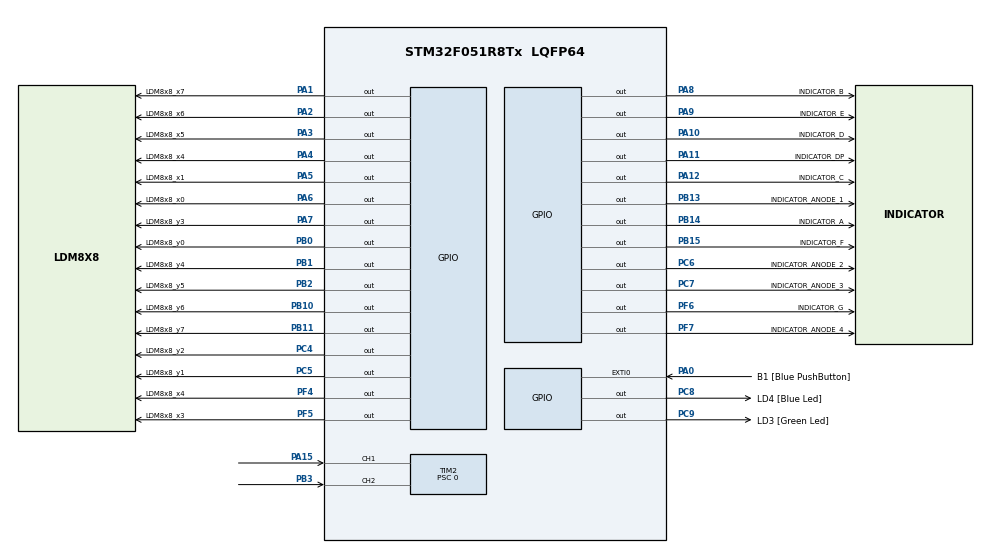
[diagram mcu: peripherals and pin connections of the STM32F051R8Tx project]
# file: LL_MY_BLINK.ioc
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Mcu.Family=STM32F0
Mcu.Name=STM32F051R8Tx
Mcu.Package=LQFP64
NVIC.EXTI0_1_IRQn=true\:0\:0\:false\:false\:true\:true\:true
PA0.GPIO_Label=B1 [Blue PushButton]
PA0.GPIO_ModeDefaultEXTI=GPIO_MODE_IT_RISING
PA0.Signal=GPXTI0
PA1.GPIO_Label=LDM8x8_x7
PA1.Signal=GPIO_Output
PA10.GPIO_Label=INDICATOR_D
PA10.Signal=GPIO_Output
PA11.GPIO_Label=INDICATOR_DP
PA11.Signal=GPIO_Output
PA12.GPIO_Label=INDICATOR_C
PA12.Signal=GPIO_Output
PA13.GPIO_Label=SWDIO
PA13.Mode=Serial_Wire
PA13.Signal=SYS_SWDIO
PA14.GPIO_Label=SWCLK
PA14.Mode=Serial_Wire
PA14.Signal=SYS_SWCLK
PA15.GPIO_ModeDefaultPP=GPIO_MODE_AF_PP
PA15.GPIO_PuPd=GPIO_PULLUP
PA15.GPIO_Speed=GPIO_SPEED_FREQ_LOW
PA15.Signal=S_TIM2_CH1_ETR
PA2.GPIO_Label=LDM8x8_x6
PA2.Signal=GPIO_Output
PA3.GPIO_Label=LDM8x8_x5
PA3.Signal=GPIO_Output
PA4.GPIO_Label=LDM8x8_x4
PA4.Signal=GPIO_Output
PA5.GPIO_Label=LDM8x8_x1
PA5.Signal=GPIO_Output
PA6.GPIO_Label=LDM8x8_x0
PA6.Signal=GPIO_Output
PA7.GPIO_Label=LDM8x8_y3
PA7.Signal=GPIO_Output
PA8.GPIO_Label=INDICATOR_B
PA8.Signal=GPIO_Output
PA9.GPIO_Label=INDICATOR_E
PA9.Signal=GPIO_Output
PB0.GPIO_Label=LDM8x8_y0
PB0.Signal=GPIO_Output
PB1.GPIO_Label=LDM8x8_y4
PB1.Signal=GPIO_Output
PB10.GPIO_Label=LDM8x8_y6
PB10.Signal=GPIO_Output
PB11.GPIO_Label=LDM8x8_y7
PB11.Signal=GPIO_Output
PB13.GPIO_Label=INDICATOR_ANODE_1
PB13.Signal=GPIO_Output
PB14.GPIO_Label=INDICATOR_A
PB14.Signal=GPIO_Output
PB15.GPIO_Label=INDICATOR_F
PB15.Signal=GPIO_Output
PB2.GPIO_Label=LDM8x8_y5
PB2.Signal=GPIO_Output
PB3.GPIO_ModeDefaultPP=GPIO_MODE_AF_PP
PB3.GPIO_PuPd=GPIO_PULLUP
PB3.GPIO_Speed=GPIO_SPEED_FREQ_LOW
PB3.Signal=S_TIM2_CH2
PC4.GPIO_Label=LDM8x8_y2
PC4.Signal=GPIO_Output
PC5.GPIO_Label=LDM8x8_y1
PC5.Signal=GPIO_Output
PC6.GPIO_Label=INDICATOR_ANODE_2
PC6.Signal=GPIO_Output
PC7.GPIO_Label=INDICATOR_ANODE_3
PC7.Signal=GPIO_Output
PC8.GPIO_Label=LD4 [Blue Led]
PC8.Signal=GPIO_Output
PC9.GPIO_Label=LD3 [Green Led]
PC9.Signal=GPIO_Output
PF0-OSC_IN.Mode=HSE-External-Oscillator
PF0-OSC_IN.Signal=RCC_OSC_IN
PF1-OSC_OUT.Mode=HSE-External-Oscillator
PF1-OSC_OUT.Signal=RCC_OSC_OUT
PF4.GPIO_Label=LDM8x8_x4
PF4.Signal=GPIO_Output
PF5.GPIO_Label=LDM8x8_x3
PF5.Signal=GPIO_Output
PF6.GPIO_Label=INDICATOR_G
PF6.Signal=GPIO_Output
PF7.GPIO_Label=INDICATOR_ANODE_4
PF7.Signal=GPIO_Output
ProjectManager.HeapSize=0x200
ProjectManager.StackSize=0x400
ProjectManager.TargetToolchain=STM32CubeIDE
RCC.AHBFreq_Value=48000000
RCC.APB1Freq_Value=48000000
RCC.APB1TimFreq_Value=48000000
RCC.HCLKFreq_Value=48000000
RCC.PLLMUL=RCC_PLL_MUL12
RCC.SYSCLKFreq_VALUE=48000000
RCC.SYSCLKSource=RCC_SYSCLKSOURCE_PLLCLK
SH.S_TIM2_CH1_ETR.0=TIM2_CH1,Encoder_Interface
SH.S_TIM2_CH2.0=TIM2_CH2,Encoder_Interface
TIM2.AutoReloadPreload=TIM_AUTORELOAD_PRELOAD_ENABLE
TIM2.ClockDivision=TIM_CLOCKDIVISION_DIV1
TIM2.CounterMode=TIM_COUNTERMODE_DOWN
TIM2.EncoderMode=TIM_ENCODERMODE_TI12
TIM2.Period=80
TIM2.Prescaler=0
TIM2.TIM_MasterSlaveMode=TIM_MASTERSLAVEMODE_DISABLE
board=STM32F0DISCOVERY

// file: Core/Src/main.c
/* USER CODE BEGIN Header */
/**
  ******************************************************************************
  * @file           : main.c
  * @brief          : Main program body
  ******************************************************************************
  * @attention
  *
  * <h2><center>&copy; Copyright (c) 2021 STMicroelectronics.
  * All rights reserved.</center></h2>
  *
  * This software component is licensed by ST under BSD 3-Clause license,
  * the "License"; You may not use this file except in compliance with the
  * License. You may obtain a copy of the License at:
  *                        opensource.org/licenses/BSD-3-Clause
  *
  ******************************************************************************
  */
/* USER CODE END Header */
#include "main.h"

/* USER CODE BEGIN Includes */

#include "stm32f0xx_ll_rcc.h"
#include "stm32f0xx_ll_system.h"
#include "stm32f0xx_ll_bus.h"
#include "stm32f0xx_ll_gpio.h"
#include "stm32f0xx_ll_exti.h"

#include "../game/game.h"

/* USER CODE END Includes */

/* USER CODE BEGIN PV */

volatile uint64_t counter_top = 0;

volatile uint64_t display_num = 0;
volatile int      g_IIEnable = 0;
volatile float    time = 0;

#define A_INDICATOR_ID_PORT 11
#define B_INDICATOR_ID_PORT 12
#define C_INDICATOR_ID_PORT 13
#define D_INDICATOR_ID_PORT 14
#define E_INDICATOR_ID_PORT 15
#define F_INDICATOR_ID_PORT 16
#define G_INDICATOR_ID_PORT 17
#define DP_INDICATOR_ID_PORT 18

#define ANODE1_INDICATOR_ID_PORT 19
#define ANODE2_INDICATOR_ID_PORT 20
#define ANODE3_INDICATOR_ID_PORT 21
#define ANODE4_INDICATOR_ID_PORT 22

#define LDM8x8_LD_X_7 100
#define LDM8x8_LD_X_6 101
#define LDM8x8_LD_X_5 102
#define LDM8x8_LD_X_4 103
#define LDM8x8_LD_X_3 104
#define LDM8x8_LD_X_2 105
#define LDM8x8_LD_X_1 106
#define LDM8x8_LD_X_0 107

#define LDM8x8_LD_Y_7 110
#define LDM8x8_LD_Y_6 111
#define LDM8x8_LD_Y_5 112
#define LDM8x8_LD_Y_4 113
#define LDM8x8_LD_Y_3 114
#define LDM8x8_LD_Y_2 115
#define LDM8x8_LD_Y_1 116
#define LDM8x8_LD_Y_0 117

/* USER CODE END PV */

void SystemClock_Config(void);
static void MX_GPIO_Init(void);
static void MX_TIM2_Init(void);
/* USER CODE BEGIN PFP */

void switchOutPortMood(uint32_t id, int mood);
void indicatorDisplay(uint64_t num);

void setFillLightLine(uint16_t percent);

void ldm8x8IndicateLine(int coord_y, const int *line);
void ldm8x8IndicateMatrix(int matrix[8][8]);

/* USER CODE END PFP */

int main(void)
{

  /* MCU Configuration--------------------------------------------------------*/

  /* Reset of all peripherals, Initializes the Flash interface and the Systick. */

  LL_APB1_GRP2_EnableClock(LL_APB1_GRP2_PERIPH_SYSCFG);
  LL_APB1_GRP1_EnableClock(LL_APB1_GRP1_PERIPH_PWR);

  /* System interrupt init*/

  /* Configure the system clock */
  SystemClock_Config();

  /* USER CODE BEGIN SysInit */

  SysTick_Config(SystemCoreClock / 1000);

  /* USER CODE END SysInit */

  /* Initialize all configured peripherals */
  MX_GPIO_Init();
  MX_TIM2_Init();
  /* USER CODE BEGIN 2 */

    LL_TIM_EnableIT_UPDATE(TIM2);
    LL_TIM_EnableCounter(TIM2);

  /* USER CODE END 2 */

  /* Infinite loop */
  /* USER CODE BEGIN WHILE */
  ezgStart();

    LL_GPIO_SetOutputPin(GPIOC, LL_GPIO_PIN_8);
    LL_GPIO_SetOutputPin(GPIOC, LL_GPIO_PIN_9);

    LL_GPIO_SetOutputPin(GPIOB, LL_GPIO_PIN_7);

  time = 0;
  float storeTime = 0;
  int dir = 0;
  int** frameBuffer = ezgGetDisplayMatrix();
  while (1)
  {
      const uint32_t encCount = LL_TIM_GetCounter(TIM2);

      float dt = time - storeTime;
      storeTime = time;
    /* USER CODE END WHILE */

    /* USER CODE BEGIN 3 */
    if (g_IIEnable) {
        ezgIIPlay(frameBuffer);
    }
    else {
        ezgSetPlayerPosition((80.f - encCount) / 10.f);
    }
    ezgUpdate(dt);

    frameBuffer =  ezgGetDisplayMatrix();

    ldm8x8IndicateMatrix(frameBuffer);

    indicatorDisplay(ezgGetCoins());
  }
  /* USER CODE END 3 */
}

void SystemClock_Config(void)
{
  LL_FLASH_SetLatency(LL_FLASH_LATENCY_1);
  while(LL_FLASH_GetLatency() != LL_FLASH_LATENCY_1)
  {
  }
  LL_RCC_HSI_Enable();

   /* Wait till HSI is ready */
  while(LL_RCC_HSI_IsReady() != 1)
  {

  }
  LL_RCC_HSI_SetCalibTrimming(16);
  LL_RCC_PLL_ConfigDomain_SYS(LL_RCC_PLLSOURCE_HSI_DIV_2, LL_RCC_PLL_MUL_12);
  LL_RCC_PLL_Enable();

   /* Wait till PLL is ready */
  while(LL_RCC_PLL_IsReady() != 1)
  {

  }
  LL_RCC_SetAHBPrescaler(LL_RCC_SYSCLK_DIV_1);
  LL_RCC_SetAPB1Prescaler(LL_RCC_APB1_DIV_1);
  LL_RCC_SetSysClkSource(LL_RCC_SYS_CLKSOURCE_PLL);

   /* Wait till System clock is ready */
  while(LL_RCC_GetSysClkSource() != LL_RCC_SYS_CLKSOURCE_STATUS_PLL)
  {

  }
  LL_Init1msTick(48000000);
  LL_SetSystemCoreClock(48000000);
}

static void MX_TIM2_Init(void)
{

  LL_TIM_InitTypeDef TIM_InitStruct = {0};

  LL_GPIO_InitTypeDef GPIO_InitStruct = {0};

  /* Peripheral clock enable */
  LL_APB1_GRP1_EnableClock(LL_APB1_GRP1_PERIPH_TIM2);

  LL_AHB1_GRP1_EnableClock(LL_AHB1_GRP1_PERIPH_GPIOA);
  LL_AHB1_GRP1_EnableClock(LL_AHB1_GRP1_PERIPH_GPIOB);
  /**TIM2 GPIO Configuration
  PA15   ------> TIM2_CH1
  PB3   ------> TIM2_CH2
  */
  GPIO_InitStruct.Pin = LL_GPIO_PIN_15;
  GPIO_InitStruct.Mode = LL_GPIO_MODE_ALTERNATE;
  GPIO_InitStruct.Speed = LL_GPIO_SPEED_FREQ_LOW;
  GPIO_InitStruct.OutputType = LL_GPIO_OUTPUT_PUSHPULL;
  GPIO_InitStruct.Pull = LL_GPIO_PULL_UP;
  GPIO_InitStruct.Alternate = LL_GPIO_AF_2;
  LL_GPIO_Init(GPIOA, &GPIO_InitStruct);

  GPIO_InitStruct.Pin = LL_GPIO_PIN_3;
  GPIO_InitStruct.Mode = LL_GPIO_MODE_ALTERNATE;
  GPIO_InitStruct.Speed = LL_GPIO_SPEED_FREQ_LOW;
  GPIO_InitStruct.OutputType = LL_GPIO_OUTPUT_PUSHPULL;
  GPIO_InitStruct.Pull = LL_GPIO_PULL_UP;
  GPIO_InitStruct.Alternate = LL_GPIO_AF_2;
  LL_GPIO_Init(GPIOB, &GPIO_InitStruct);

  LL_TIM_SetEncoderMode(TIM2, LL_TIM_ENCODERMODE_X4_TI12);
  LL_TIM_IC_SetActiveInput(TIM2, LL_TIM_CHANNEL_CH1, LL_TIM_ACTIVEINPUT_DIRECTTI);
  LL_TIM_IC_SetPrescaler(TIM2, LL_TIM_CHANNEL_CH1, LL_TIM_ICPSC_DIV1);
  LL_TIM_IC_SetFilter(TIM2, LL_TIM_CHANNEL_CH1, LL_TIM_IC_FILTER_FDIV1);
  LL_TIM_IC_SetPolarity(TIM2, LL_TIM_CHANNEL_CH1, LL_TIM_IC_POLARITY_RISING);
  LL_TIM_IC_SetActiveInput(TIM2, LL_TIM_CHANNEL_CH2, LL_TIM_ACTIVEINPUT_DIRECTTI);
  LL_TIM_IC_SetPrescaler(TIM2, LL_TIM_CHANNEL_CH2, LL_TIM_ICPSC_DIV1);
  LL_TIM_IC_SetFilter(TIM2, LL_TIM_CHANNEL_CH2, LL_TIM_IC_FILTER_FDIV1);
  LL_TIM_IC_SetPolarity(TIM2, LL_TIM_CHANNEL_CH2, LL_TIM_IC_POLARITY_RISING);
  TIM_InitStruct.Prescaler = 0;
  TIM_InitStruct.CounterMode = LL_TIM_COUNTERMODE_DOWN;
  TIM_InitStruct.Autoreload = 80;
  TIM_InitStruct.ClockDivision = LL_TIM_CLOCKDIVISION_DIV1;
  LL_TIM_Init(TIM2, &TIM_InitStruct);
  LL_TIM_EnableARRPreload(TIM2);
  LL_TIM_SetTriggerOutput(TIM2, LL_TIM_TRGO_RESET);
  LL_TIM_DisableMasterSlaveMode(TIM2);

}

static void MX_GPIO_Init(void)
{
  LL_EXTI_InitTypeDef EXTI_InitStruct = {0};
  LL_GPIO_InitTypeDef GPIO_InitStruct = {0};

  /* GPIO Ports Clock Enable */
  LL_AHB1_GRP1_EnableClock(LL_AHB1_GRP1_PERIPH_GPIOF);
  LL_AHB1_GRP1_EnableClock(LL_AHB1_GRP1_PERIPH_GPIOA);
  LL_AHB1_GRP1_EnableClock(LL_AHB1_GRP1_PERIPH_GPIOC);
  LL_AHB1_GRP1_EnableClock(LL_AHB1_GRP1_PERIPH_GPIOB);

  /**/
  LL_GPIO_ResetOutputPin(GPIOA, LL_GPIO_PIN_1);

  /**/
  LL_GPIO_ResetOutputPin(GPIOA, LL_GPIO_PIN_2);

  /**/
  LL_GPIO_ResetOutputPin(GPIOA, LL_GPIO_PIN_3);

  /**/
  LL_GPIO_ResetOutputPin(GPIOF, LL_GPIO_PIN_4);

  /**/
  LL_GPIO_ResetOutputPin(GPIOF, LL_GPIO_PIN_5);

  /**/
  LL_GPIO_ResetOutputPin(GPIOA, LL_GPIO_PIN_4);

  /**/
  LL_GPIO_ResetOutputPin(GPIOA, LL_GPIO_PIN_5);

  /**/
  LL_GPIO_ResetOutputPin(GPIOA, LL_GPIO_PIN_6);

  /**/
  LL_GPIO_ResetOutputPin(GPIOA, LL_GPIO_PIN_7);

  /**/
  LL_GPIO_ResetOutputPin(GPIOC, LL_GPIO_PIN_4);

  /**/
  LL_GPIO_ResetOutputPin(GPIOC, LL_GPIO_PIN_5);

  /**/
  LL_GPIO_ResetOutputPin(GPIOB, LL_GPIO_PIN_0);

  /**/
  LL_GPIO_ResetOutputPin(GPIOB, LL_GPIO_PIN_1);

  /**/
  LL_GPIO_ResetOutputPin(GPIOB, LL_GPIO_PIN_2);

  /**/
  LL_GPIO_ResetOutputPin(GPIOB, LL_GPIO_PIN_10);

  /**/
  LL_GPIO_ResetOutputPin(GPIOB, LL_GPIO_PIN_11);

  /**/
  LL_GPIO_ResetOutputPin(GPIOB, LL_GPIO_PIN_13);

  /**/
  LL_GPIO_ResetOutputPin(GPIOB, LL_GPIO_PIN_14);

  /**/
  LL_GPIO_ResetOutputPin(GPIOB, LL_GPIO_PIN_15);

  /**/
  LL_GPIO_ResetOutputPin(GPIOC, LL_GPIO_PIN_6);

  /**/
  LL_GPIO_ResetOutputPin(GPIOC, LL_GPIO_PIN_7);

  /**/
  LL_GPIO_ResetOutputPin(LD4_GPIO_Port, LD4_Pin);

  /**/
  LL_GPIO_ResetOutputPin(LD3_GPIO_Port, LD3_Pin);

  /**/
  LL_GPIO_ResetOutputPin(GPIOA, LL_GPIO_PIN_8);

  /**/
  LL_GPIO_ResetOutputPin(GPIOA, LL_GPIO_PIN_9);

  /**/
  LL_GPIO_ResetOutputPin(GPIOA, LL_GPIO_PIN_10);

  /**/
  LL_GPIO_ResetOutputPin(GPIOA, LL_GPIO_PIN_11);

  /**/
  LL_GPIO_ResetOutputPin(GPIOA, LL_GPIO_PIN_12);

  /**/
  LL_GPIO_ResetOutputPin(GPIOF, LL_GPIO_PIN_6);

  /**/
  LL_GPIO_ResetOutputPin(GPIOF, LL_GPIO_PIN_7);

  /**/
  LL_GPIO_ResetOutputPin(GPIOB, LL_GPIO_PIN_5);

  /**/
  LL_GPIO_ResetOutputPin(GPIOB, LL_GPIO_PIN_7);

  /**/
  LL_SYSCFG_SetEXTISource(LL_SYSCFG_EXTI_PORTA, LL_SYSCFG_EXTI_LINE0);

  /**/
  LL_GPIO_SetPinPull(B1_GPIO_Port, B1_Pin, LL_GPIO_PULL_NO);

  /**/
  LL_GPIO_SetPinMode(B1_GPIO_Port, B1_Pin, LL_GPIO_MODE_INPUT);

  /**/
  EXTI_InitStruct.Line_0_31 = LL_EXTI_LINE_0;
  EXTI_InitStruct.LineCommand = ENABLE;
  EXTI_InitStruct.Mode = LL_EXTI_MODE_IT;
  EXTI_InitStruct.Trigger = LL_EXTI_TRIGGER_RISING;
  LL_EXTI_Init(&EXTI_InitStruct);

  /**/
  GPIO_InitStruct.Pin = LL_GPIO_PIN_1;
  GPIO_InitStruct.Mode = LL_GPIO_MODE_OUTPUT;
  GPIO_InitStruct.Speed = LL_GPIO_SPEED_FREQ_LOW;
  GPIO_InitStruct.OutputType = LL_GPIO_OUTPUT_PUSHPULL;
  GPIO_InitStruct.Pull = LL_GPIO_PULL_NO;
  LL_GPIO_Init(GPIOA, &GPIO_InitStruct);

  /**/
  GPIO_InitStruct.Pin = LL_GPIO_PIN_2;
  GPIO_InitStruct.Mode = LL_GPIO_MODE_OUTPUT;
  GPIO_InitStruct.Speed = LL_GPIO_SPEED_FREQ_LOW;
  GPIO_InitStruct.OutputType = LL_GPIO_OUTPUT_PUSHPULL;
  GPIO_InitStruct.Pull = LL_GPIO_PULL_NO;
  LL_GPIO_Init(GPIOA, &GPIO_InitStruct);

  /**/
  GPIO_InitStruct.Pin = LL_GPIO_PIN_3;
  GPIO_InitStruct.Mode = LL_GPIO_MODE_OUTPUT;
  GPIO_InitStruct.Speed = LL_GPIO_SPEED_FREQ_LOW;
  GPIO_InitStruct.OutputType = LL_GPIO_OUTPUT_PUSHPULL;
  GPIO_InitStruct.Pull = LL_GPIO_PULL_NO;
  LL_GPIO_Init(GPIOA, &GPIO_InitStruct);

  /**/
  GPIO_InitStruct.Pin = LL_GPIO_PIN_4;
  GPIO_InitStruct.Mode = LL_GPIO_MODE_OUTPUT;
  GPIO_InitStruct.Speed = LL_GPIO_SPEED_FREQ_LOW;
  GPIO_InitStruct.OutputType = LL_GPIO_OUTPUT_PUSHPULL;
  GPIO_InitStruct.Pull = LL_GPIO_PULL_NO;
  LL_GPIO_Init(GPIOF, &GPIO_InitStruct);

  /**/
  GPIO_InitStruct.Pin = LL_GPIO_PIN_5;
  GPIO_InitStruct.Mode = LL_GPIO_MODE_OUTPUT;
  GPIO_InitStruct.Speed = LL_GPIO_SPEED_FREQ_LOW;
  GPIO_InitStruct.OutputType = LL_GPIO_OUTPUT_PUSHPULL;
  GPIO_InitStruct.Pull = LL_GPIO_PULL_NO;
  LL_GPIO_Init(GPIOF, &GPIO_InitStruct);

  /**/
  GPIO_InitStruct.Pin = LL_GPIO_PIN_4;
  GPIO_InitStruct.Mode = LL_GPIO_MODE_OUTPUT;
  GPIO_InitStruct.Speed = LL_GPIO_SPEED_FREQ_LOW;
  GPIO_InitStruct.OutputType = LL_GPIO_OUTPUT_PUSHPULL;
  GPIO_InitStruct.Pull = LL_GPIO_PULL_NO;
  LL_GPIO_Init(GPIOA, &GPIO_InitStruct);

  /**/
  GPIO_InitStruct.Pin = LL_GPIO_PIN_5;
  GPIO_InitStruct.Mode = LL_GPIO_MODE_OUTPUT;
  GPIO_InitStruct.Speed = LL_GPIO_SPEED_FREQ_LOW;
  GPIO_InitStruct.OutputType = LL_GPIO_OUTPUT_PUSHPULL;
  GPIO_InitStruct.Pull = LL_GPIO_PULL_NO;
  LL_GPIO_Init(GPIOA, &GPIO_InitStruct);

  /**/
  GPIO_InitStruct.Pin = LL_GPIO_PIN_6;
  GPIO_InitStruct.Mode = LL_GPIO_MODE_OUTPUT;
  GPIO_InitStruct.Speed = LL_GPIO_SPEED_FREQ_LOW;
  GPIO_InitStruct.OutputType = LL_GPIO_OUTPUT_PUSHPULL;
  GPIO_InitStruct.Pull = LL_GPIO_PULL_NO;
  LL_GPIO_Init(GPIOA, &GPIO_InitStruct);

  /**/
  GPIO_InitStruct.Pin = LL_GPIO_PIN_7;
  GPIO_InitStruct.Mode = LL_GPIO_MODE_OUTPUT;
  GPIO_InitStruct.Speed = LL_GPIO_SPEED_FREQ_LOW;
  GPIO_InitStruct.OutputType = LL_GPIO_OUTPUT_PUSHPULL;
  GPIO_InitStruct.Pull = LL_GPIO_PULL_NO;
  LL_GPIO_Init(GPIOA, &GPIO_InitStruct);

  /**/
  GPIO_InitStruct.Pin = LL_GPIO_PIN_4;
  GPIO_InitStruct.Mode = LL_GPIO_MODE_OUTPUT;
  GPIO_InitStruct.Speed = LL_GPIO_SPEED_FREQ_LOW;
  GPIO_InitStruct.OutputType = LL_GPIO_OUTPUT_PUSHPULL;
  GPIO_InitStruct.Pull = LL_GPIO_PULL_NO;
  LL_GPIO_Init(GPIOC, &GPIO_InitStruct);

  /**/
  GPIO_InitStruct.Pin = LL_GPIO_PIN_5;
  GPIO_InitStruct.Mode = LL_GPIO_MODE_OUTPUT;
  GPIO_InitStruct.Speed = LL_GPIO_SPEED_FREQ_LOW;
  GPIO_InitStruct.OutputType = LL_GPIO_OUTPUT_PUSHPULL;
  GPIO_InitStruct.Pull = LL_GPIO_PULL_NO;
  LL_GPIO_Init(GPIOC, &GPIO_InitStruct);

  /**/
  GPIO_InitStruct.Pin = LL_GPIO_PIN_0;
  GPIO_InitStruct.Mode = LL_GPIO_MODE_OUTPUT;
  GPIO_InitStruct.Speed = LL_GPIO_SPEED_FREQ_LOW;
  GPIO_InitStruct.OutputType = LL_GPIO_OUTPUT_PUSHPULL;
  GPIO_InitStruct.Pull = LL_GPIO_PULL_NO;
  LL_GPIO_Init(GPIOB, &GPIO_InitStruct);

  /**/
  GPIO_InitStruct.Pin = LL_GPIO_PIN_1;
  GPIO_InitStruct.Mode = LL_GPIO_MODE_OUTPUT;
  GPIO_InitStruct.Speed = LL_GPIO_SPEED_FREQ_LOW;
  GPIO_InitStruct.OutputType = LL_GPIO_OUTPUT_PUSHPULL;
  GPIO_InitStruct.Pull = LL_GPIO_PULL_NO;
  LL_GPIO_Init(GPIOB, &GPIO_InitStruct);

  /**/
  GPIO_InitStruct.Pin = LL_GPIO_PIN_2;
  GPIO_InitStruct.Mode = LL_GPIO_MODE_OUTPUT;
  GPIO_InitStruct.Speed = LL_GPIO_SPEED_FREQ_LOW;
  GPIO_InitStruct.OutputType = LL_GPIO_OUTPUT_PUSHPULL;
  GPIO_InitStruct.Pull = LL_GPIO_PULL_NO;
  LL_GPIO_Init(GPIOB, &GPIO_InitStruct);

  /**/
  GPIO_InitStruct.Pin = LL_GPIO_PIN_10;
  GPIO_InitStruct.Mode = LL_GPIO_MODE_OUTPUT;
  GPIO_InitStruct.Speed = LL_GPIO_SPEED_FREQ_LOW;
  GPIO_InitStruct.OutputType = LL_GPIO_OUTPUT_PUSHPULL;
  GPIO_InitStruct.Pull = LL_GPIO_PULL_NO;
  LL_GPIO_Init(GPIOB, &GPIO_InitStruct);

  /**/
  GPIO_InitStruct.Pin = LL_GPIO_PIN_11;
  GPIO_InitStruct.Mode = LL_GPIO_MODE_OUTPUT;
  GPIO_InitStruct.Speed = LL_GPIO_SPEED_FREQ_LOW;
  GPIO_InitStruct.OutputType = LL_GPIO_OUTPUT_PUSHPULL;
  GPIO_InitStruct.Pull = LL_GPIO_PULL_NO;
  LL_GPIO_Init(GPIOB, &GPIO_InitStruct);

  /**/
  GPIO_InitStruct.Pin = LL_GPIO_PIN_13;
  GPIO_InitStruct.Mode = LL_GPIO_MODE_OUTPUT;
  GPIO_InitStruct.Speed = LL_GPIO_SPEED_FREQ_LOW;
  GPIO_InitStruct.OutputType = LL_GPIO_OUTPUT_PUSHPULL;
  GPIO_InitStruct.Pull = LL_GPIO_PULL_NO;
  LL_GPIO_Init(GPIOB, &GPIO_InitStruct);

  /**/
  GPIO_InitStruct.Pin = LL_GPIO_PIN_14;
  GPIO_InitStruct.Mode = LL_GPIO_MODE_OUTPUT;
  GPIO_InitStruct.Speed = LL_GPIO_SPEED_FREQ_LOW;
  GPIO_InitStruct.OutputType = LL_GPIO_OUTPUT_PUSHPULL;
  GPIO_InitStruct.Pull = LL_GPIO_PULL_NO;
  LL_GPIO_Init(GPIOB, &GPIO_InitStruct);

  /**/
  GPIO_InitStruct.Pin = LL_GPIO_PIN_15;
  GPIO_InitStruct.Mode = LL_GPIO_MODE_OUTPUT;
  GPIO_InitStruct.Speed = LL_GPIO_SPEED_FREQ_LOW;
  GPIO_InitStruct.OutputType = LL_GPIO_OUTPUT_PUSHPULL;
  GPIO_InitStruct.Pull = LL_GPIO_PULL_NO;
  LL_GPIO_Init(GPIOB, &GPIO_InitStruct);

  /**/
  GPIO_InitStruct.Pin = LL_GPIO_PIN_6;
  GPIO_InitStruct.Mode = LL_GPIO_MODE_OUTPUT;
  GPIO_InitStruct.Speed = LL_GPIO_SPEED_FREQ_LOW;
  GPIO_InitStruct.OutputType = LL_GPIO_OUTPUT_PUSHPULL;
  GPIO_InitStruct.Pull = LL_GPIO_PULL_NO;
  LL_GPIO_Init(GPIOC, &GPIO_InitStruct);

  /**/
  GPIO_InitStruct.Pin = LL_GPIO_PIN_7;
  GPIO_InitStruct.Mode = LL_GPIO_MODE_OUTPUT;
  GPIO_InitStruct.Speed = LL_GPIO_SPEED_FREQ_LOW;
  GPIO_InitStruct.OutputType = LL_GPIO_OUTPUT_PUSHPULL;
  GPIO_InitStruct.Pull = LL_GPIO_PULL_NO;
  LL_GPIO_Init(GPIOC, &GPIO_InitStruct);

  /**/
  GPIO_InitStruct.Pin = LD4_Pin;
  GPIO_InitStruct.Mode = LL_GPIO_MODE_OUTPUT;
  GPIO_InitStruct.Speed = LL_GPIO_SPEED_FREQ_LOW;
  GPIO_InitStruct.OutputType = LL_GPIO_OUTPUT_PUSHPULL;
  GPIO_InitStruct.Pull = LL_GPIO_PULL_NO;
  LL_GPIO_Init(LD4_GPIO_Port, &GPIO_InitStruct);

  /**/
  GPIO_InitStruct.Pin = LD3_Pin;
  GPIO_InitStruct.Mode = LL_GPIO_MODE_OUTPUT;
  GPIO_InitStruct.Speed = LL_GPIO_SPEED_FREQ_LOW;
  GPIO_InitStruct.OutputType = LL_GPIO_OUTPUT_PUSHPULL;
  GPIO_InitStruct.Pull = LL_GPIO_PULL_NO;
  LL_GPIO_Init(LD3_GPIO_Port, &GPIO_InitStruct);

  /**/
  GPIO_InitStruct.Pin = LL_GPIO_PIN_8;
  GPIO_InitStruct.Mode = LL_GPIO_MODE_OUTPUT;
  GPIO_InitStruct.Speed = LL_GPIO_SPEED_FREQ_LOW;
  GPIO_InitStruct.OutputType = LL_GPIO_OUTPUT_PUSHPULL;
  GPIO_InitStruct.Pull = LL_GPIO_PULL_NO;
  LL_GPIO_Init(GPIOA, &GPIO_InitStruct);

  /**/
  GPIO_InitStruct.Pin = LL_GPIO_PIN_9;
  GPIO_InitStruct.Mode = LL_GPIO_MODE_OUTPUT;
  GPIO_InitStruct.Speed = LL_GPIO_SPEED_FREQ_LOW;
  GPIO_InitStruct.OutputType = LL_GPIO_OUTPUT_PUSHPULL;
  GPIO_InitStruct.Pull = LL_GPIO_PULL_NO;
  LL_GPIO_Init(GPIOA, &GPIO_InitStruct);

  /**/
  GPIO_InitStruct.Pin = LL_GPIO_PIN_10;
  GPIO_InitStruct.Mode = LL_GPIO_MODE_OUTPUT;
  GPIO_InitStruct.Speed = LL_GPIO_SPEED_FREQ_LOW;
  GPIO_InitStruct.OutputType = LL_GPIO_OUTPUT_PUSHPULL;
  GPIO_InitStruct.Pull = LL_GPIO_PULL_NO;
  LL_GPIO_Init(GPIOA, &GPIO_InitStruct);

  /**/
  GPIO_InitStruct.Pin = LL_GPIO_PIN_11;
  GPIO_InitStruct.Mode = LL_GPIO_MODE_OUTPUT;
  GPIO_InitStruct.Speed = LL_GPIO_SPEED_FREQ_LOW;
  GPIO_InitStruct.OutputType = LL_GPIO_OUTPUT_PUSHPULL;
  GPIO_InitStruct.Pull = LL_GPIO_PULL_NO;
  LL_GPIO_Init(GPIOA, &GPIO_InitStruct);

  /**/
  GPIO_InitStruct.Pin = LL_GPIO_PIN_12;
  GPIO_InitStruct.Mode = LL_GPIO_MODE_OUTPUT;
  GPIO_InitStruct.Speed = LL_GPIO_SPEED_FREQ_LOW;
  GPIO_InitStruct.OutputType = LL_GPIO_OUTPUT_PUSHPULL;
  GPIO_InitStruct.Pull = LL_GPIO_PULL_NO;
  LL_GPIO_Init(GPIOA, &GPIO_InitStruct);

  /**/
  GPIO_InitStruct.Pin = LL_GPIO_PIN_6;
  GPIO_InitStruct.Mode = LL_GPIO_MODE_OUTPUT;
  GPIO_InitStruct.Speed = LL_GPIO_SPEED_FREQ_LOW;
  GPIO_InitStruct.OutputType = LL_GPIO_OUTPUT_PUSHPULL;
  GPIO_InitStruct.Pull = LL_GPIO_PULL_NO;
  LL_GPIO_Init(GPIOF, &GPIO_InitStruct);

  /**/
  GPIO_InitStruct.Pin = LL_GPIO_PIN_7;
  GPIO_InitStruct.Mode = LL_GPIO_MODE_OUTPUT;
  GPIO_InitStruct.Speed = LL_GPIO_SPEED_FREQ_LOW;
  GPIO_InitStruct.OutputType = LL_GPIO_OUTPUT_PUSHPULL;
  GPIO_InitStruct.Pull = LL_GPIO_PULL_NO;
  LL_GPIO_Init(GPIOF, &GPIO_InitStruct);

  /**/
  GPIO_InitStruct.Pin = LL_GPIO_PIN_5;
  GPIO_InitStruct.Mode = LL_GPIO_MODE_OUTPUT;
  GPIO_InitStruct.Speed = LL_GPIO_SPEED_FREQ_LOW;
  GPIO_InitStruct.OutputType = LL_GPIO_OUTPUT_PUSHPULL;
  GPIO_InitStruct.Pull = LL_GPIO_PULL_NO;
  LL_GPIO_Init(GPIOB, &GPIO_InitStruct);

  /**/
  GPIO_InitStruct.Pin = LL_GPIO_PIN_7;
  GPIO_InitStruct.Mode = LL_GPIO_MODE_OUTPUT;
  GPIO_InitStruct.Speed = LL_GPIO_SPEED_FREQ_LOW;
  GPIO_InitStruct.OutputType = LL_GPIO_OUTPUT_PUSHPULL;
  GPIO_InitStruct.Pull = LL_GPIO_PULL_NO;
  LL_GPIO_Init(GPIOB, &GPIO_InitStruct);

  /* EXTI interrupt init*/
  NVIC_SetPriority(EXTI0_1_IRQn, 0);
  NVIC_EnableIRQ(EXTI0_1_IRQn);

}

/* USER CODE BEGIN 4 */

void indicatorDisplay(uint64_t num)
{
    /*
       4-разрядный 7-сегментный индикатор
                1  A  F 2  3  B
 ______________|__|__|__|__|__|__________
|    A    |    A    |    A    |    A    |
| F     B | F     B | F     B | F     B |
|    G    |    G    |    G    |    G    |
| E     C | E     C | E     C | E     C |
|    D  dp|    D  dp|    D  dp|    D  dp|
|_________|_________|_________|_________|
                |  |  |  |  |  |
                E  D dp  C  G  4

Соответствие отображаемого знака данным порта общий анод
______________________________________
     |   двоичный вид по сегментам   |
Цифра|dp | A | B | C | D | E | F | G |
-----|---|---|---|---|---|---|---|---|
  0  | 0 | 1 | 1 | 1 | 1 | 1 | 1 | 0 |
  1  | 0 | 1 | 1 | 0 | 0 | 0 | 0 | 0 |
  2  | 0 | 1 | 1 | 0 | 1 | 1 | 0 | 1 |
  3  | 0 | 1 | 1 | 1 | 1 | 0 | 0 | 1 |
  4  | 0 | 0 | 1 | 1 | 0 | 0 | 1 | 1 |
  5  | 0 | 1 | 0 | 1 | 1 | 0 | 1 | 1 |
  6  | 0 | 1 | 0 | 1 | 1 | 1 | 1 | 1 |
  7  | 0 | 1 | 1 | 1 | 0 | 0 | 0 | 0 |
  8  | 0 | 1 | 1 | 1 | 1 | 1 | 1 | 1 |
  9  | 0 | 1 | 1 | 1 | 0 | 0 | 1 | 1 |
 dp  | 1 | 0 | 0 | 0 | 0 | 0 | 0 | 0 |
-----*---*---*---*---*---*---*---*---*

 */

    uint8_t digitMatrix[10][7] = {
           // A, B, C, D, E, F, G
            { 1, 1, 1, 1, 1, 1, 0 }, //0
            { 0, 1, 1, 0, 0, 0, 0 }, //1
            { 1, 1, 0, 1, 1, 0, 1 }, //2
            { 1, 1, 1, 1, 0, 0, 1 }, //3
            { 0, 1, 1, 0, 0, 1, 1 }, //4
            { 1, 0, 1, 1, 0, 1, 1 }, //5
            { 1, 0, 1, 1, 1, 1, 1 }, //6
            { 1, 1, 1, 0, 0, 0, 0 }, //7
            { 1, 1, 1, 1, 1, 1, 1 }, //8
            { 1, 1, 1, 0, 0, 1, 1 }, //9
    };

    const uint16_t timeLight = 1;

    const uint16_t n1 = (uint16_t)(num / 1000) % 10;
    const uint16_t n2 = (uint16_t)(num / 100) % 10;
    const uint16_t n3 = (uint16_t)(num / 10) % 10;
    const uint16_t n4 = num % 10;

    switchOutPortMood(ANODE1_INDICATOR_ID_PORT, 0);
    switchOutPortMood(ANODE2_INDICATOR_ID_PORT, 1);
    switchOutPortMood(ANODE3_INDICATOR_ID_PORT, 1);
    switchOutPortMood(ANODE4_INDICATOR_ID_PORT, 1);

    switchOutPortMood(A_INDICATOR_ID_PORT, digitMatrix[n1][0]);
    switchOutPortMood(B_INDICATOR_ID_PORT, digitMatrix[n1][1]);
    switchOutPortMood(C_INDICATOR_ID_PORT, digitMatrix[n1][2]);
    switchOutPortMood(D_INDICATOR_ID_PORT, digitMatrix[n1][3]);
    switchOutPortMood(E_INDICATOR_ID_PORT, digitMatrix[n1][4]);
    switchOutPortMood(F_INDICATOR_ID_PORT, digitMatrix[n1][5]);
    switchOutPortMood(G_INDICATOR_ID_PORT, digitMatrix[n1][6]);
    LL_mDelay(timeLight);

    switchOutPortMood(ANODE1_INDICATOR_ID_PORT, 1);
    switchOutPortMood(ANODE2_INDICATOR_ID_PORT, 0);

    switchOutPortMood(A_INDICATOR_ID_PORT, digitMatrix[n2][0]);
    switchOutPortMood(B_INDICATOR_ID_PORT, digitMatrix[n2][1]);
    switchOutPortMood(C_INDICATOR_ID_PORT, digitMatrix[n2][2]);
    switchOutPortMood(D_INDICATOR_ID_PORT, digitMatrix[n2][3]);
    switchOutPortMood(E_INDICATOR_ID_PORT, digitMatrix[n2][4]);
    switchOutPortMood(F_INDICATOR_ID_PORT, digitMatrix[n2][5]);
    switchOutPortMood(G_INDICATOR_ID_PORT, digitMatrix[n2][6]);
    LL_mDelay(timeLight);

    switchOutPortMood(ANODE2_INDICATOR_ID_PORT, 1);
    switchOutPortMood(ANODE3_INDICATOR_ID_PORT, 0);

    switchOutPortMood(A_INDICATOR_ID_PORT, digitMatrix[n3][0]);
    switchOutPortMood(B_INDICATOR_ID_PORT, digitMatrix[n3][1]);
    switchOutPortMood(C_INDICATOR_ID_PORT, digitMatrix[n3][2]);
    switchOutPortMood(D_INDICATOR_ID_PORT, digitMatrix[n3][3]);
    switchOutPortMood(E_INDICATOR_ID_PORT, digitMatrix[n3][4]);
    switchOutPortMood(F_INDICATOR_ID_PORT, digitMatrix[n3][5]);
    switchOutPortMood(G_INDICATOR_ID_PORT, digitMatrix[n3][6]);
    LL_mDelay(timeLight);

    switchOutPortMood(ANODE3_INDICATOR_ID_PORT, 1);
    switchOutPortMood(ANODE4_INDICATOR_ID_PORT, 0);

    switchOutPortMood(A_INDICATOR_ID_PORT, digitMatrix[n4][0]);
    switchOutPortMood(B_INDICATOR_ID_PORT, digitMatrix[n4][1]);
    switchOutPortMood(C_INDICATOR_ID_PORT, digitMatrix[n4][2]);
    switchOutPortMood(D_INDICATOR_ID_PORT, digitMatrix[n4][3]);
    switchOutPortMood(E_INDICATOR_ID_PORT, digitMatrix[n4][4]);
    switchOutPortMood(F_INDICATOR_ID_PORT, digitMatrix[n4][5]);
    switchOutPortMood(G_INDICATOR_ID_PORT, digitMatrix[n4][6]);
    LL_mDelay(timeLight);

}

void ldm8x8IndicateMatrix(int matrix[8][8])
{
    const uint16_t timeLight = 1;

    for(int i = 0; i < 8; ++i)
    {
        ldm8x8IndicateLine(i, matrix[i]);
        LL_mDelay(timeLight);
    }
}

void ldm8x8IndicateLine(int coord_y, const int *line)
{
    switchOutPortMood(LDM8x8_LD_Y_0, 0);
    switchOutPortMood(LDM8x8_LD_Y_1, 0);
    switchOutPortMood(LDM8x8_LD_Y_2, 0);
    switchOutPortMood(LDM8x8_LD_Y_3, 0);
    switchOutPortMood(LDM8x8_LD_Y_4, 0);
    switchOutPortMood(LDM8x8_LD_Y_5, 0);
    switchOutPortMood(LDM8x8_LD_Y_6, 0);
    switchOutPortMood(LDM8x8_LD_Y_7, 0);

    switchOutPortMood(LDM8x8_LD_X_0, 0);
    switchOutPortMood(LDM8x8_LD_X_1, 0);
    switchOutPortMood(LDM8x8_LD_X_2, 0);
    switchOutPortMood(LDM8x8_LD_X_3, 0);
    switchOutPortMood(LDM8x8_LD_X_4, 0);
    switchOutPortMood(LDM8x8_LD_X_5, 0);
    switchOutPortMood(LDM8x8_LD_X_6, 0);
    switchOutPortMood(LDM8x8_LD_X_7, 0);

    if (line[0] == 0) { switchOutPortMood(LDM8x8_LD_X_0, 1); }
    if (line[1] == 0) { switchOutPortMood(LDM8x8_LD_X_1, 1); }
    if (line[2] == 0) { switchOutPortMood(LDM8x8_LD_X_2, 1); }
    if (line[3] == 0) { switchOutPortMood(LDM8x8_LD_X_3, 1); }
    if (line[4] == 0) { switchOutPortMood(LDM8x8_LD_X_4, 1); }
    if (line[5] == 0) { switchOutPortMood(LDM8x8_LD_X_5, 1); }
    if (line[6] == 0) { switchOutPortMood(LDM8x8_LD_X_6, 1); }
    if (line[7] == 0) { switchOutPortMood(LDM8x8_LD_X_7, 1); }

    if (coord_y == 0) { switchOutPortMood(LDM8x8_LD_Y_0, 1); }
    else if (coord_y == 1) { switchOutPortMood(LDM8x8_LD_Y_1, 1); }
    else if (coord_y == 2) { switchOutPortMood(LDM8x8_LD_Y_2, 1); }
    else if (coord_y == 3) { switchOutPortMood(LDM8x8_LD_Y_3, 1); }
    else if (coord_y == 4) { switchOutPortMood(LDM8x8_LD_Y_4, 1); }
    else if (coord_y == 5) { switchOutPortMood(LDM8x8_LD_Y_5, 1); }
    else if (coord_y == 6) { switchOutPortMood(LDM8x8_LD_Y_6, 1); }
    else if (coord_y == 7) { switchOutPortMood(LDM8x8_LD_Y_7, 1); }
}

void switchOutPortMood(uint32_t id, int mood)
{
    void* typePort = 0;
    unsigned int port = 0;

    switch(id)
    {
        //-----------------------------------
        //ld matrix 8x8
        case LDM8x8_LD_X_7:
            typePort = GPIOA;
            port = LL_GPIO_PIN_1;
            break;

        case LDM8x8_LD_X_6:
            typePort = GPIOA;
            port = LL_GPIO_PIN_2;
            break;

        case LDM8x8_LD_X_5:
            typePort = GPIOA;
            port = LL_GPIO_PIN_3;
            break;

        case LDM8x8_LD_X_4:
            typePort = GPIOF;
            port = LL_GPIO_PIN_4;
            break;

        case LDM8x8_LD_X_3:
            typePort = GPIOF;
            port = LL_GPIO_PIN_5;
            break;

        case LDM8x8_LD_X_2:
            typePort = GPIOA;
            port = LL_GPIO_PIN_4;
            break;

        case LDM8x8_LD_X_1:
            typePort = GPIOA;
            port = LL_GPIO_PIN_5;
            break;

        case LDM8x8_LD_X_0:
            typePort = GPIOA;
            port = LL_GPIO_PIN_6;
            break;

        case LDM8x8_LD_Y_3:
            typePort = GPIOA;
            port = LL_GPIO_PIN_7;
            break;

        case LDM8x8_LD_Y_2:
            typePort = GPIOC;
            port = LL_GPIO_PIN_4;
            break;

        case LDM8x8_LD_Y_1:
            typePort = GPIOC;
            port = LL_GPIO_PIN_5;
            break;

        case LDM8x8_LD_Y_0:
            typePort = GPIOB;
            port = LL_GPIO_PIN_0;
            break;

        case LDM8x8_LD_Y_4:
            typePort = GPIOB;
            port = LL_GPIO_PIN_1;
            break;

        case LDM8x8_LD_Y_5:
            typePort = GPIOB;
            port = LL_GPIO_PIN_2;
            break;

        case LDM8x8_LD_Y_6:
            typePort = GPIOB;
            port = LL_GPIO_PIN_10;
            break;

        case LDM8x8_LD_Y_7:
            typePort = GPIOB;
            port = LL_GPIO_PIN_11;
            break;

        //-----------------------------------
        // indicator 4

        case A_INDICATOR_ID_PORT:
            typePort = GPIOB;
            port = LL_GPIO_PIN_14;
            break;

        case B_INDICATOR_ID_PORT:
            typePort = GPIOA;
            port = LL_GPIO_PIN_8;
            break;

        case C_INDICATOR_ID_PORT:
            typePort = GPIOA;
            port = LL_GPIO_PIN_12;
            break;

        case D_INDICATOR_ID_PORT:
            typePort = GPIOA;
            port = LL_GPIO_PIN_10;
            break;

        case E_INDICATOR_ID_PORT:
            typePort = GPIOA;
            port = LL_GPIO_PIN_9;
            break;

        case F_INDICATOR_ID_PORT:
            typePort = GPIOB;
            port = LL_GPIO_PIN_15;
            break;

        case G_INDICATOR_ID_PORT:
            typePort = GPIOF;
            port = LL_GPIO_PIN_6;
            break;

        case DP_INDICATOR_ID_PORT:
            typePort = GPIOA;
            port = LL_GPIO_PIN_11;
            break;

        case ANODE1_INDICATOR_ID_PORT:
            typePort = GPIOB;
            port = LL_GPIO_PIN_13;
            break;

        case ANODE2_INDICATOR_ID_PORT:
            typePort = GPIOC;
            port = LL_GPIO_PIN_6;
            break;

        case ANODE3_INDICATOR_ID_PORT:
            typePort = GPIOC;
            port = LL_GPIO_PIN_7;
            break;

        case ANODE4_INDICATOR_ID_PORT:
            typePort = GPIOF;
            port = LL_GPIO_PIN_7;
            break;
    }

    if (mood == 0) {
        LL_GPIO_ResetOutputPin(typePort, port);
    }
    else if (mood == 1) {
        LL_GPIO_SetOutputPin(typePort, port);
    }
}

void EXTI0_1_CallBack()
{
    g_IIEnable ^= 1;
}

/* USER CODE END 4 */

void Error_Handler(void)
{
  __disable_irq();
  while (1)
  {
  }
}

/************************ (C) COPYRIGHT STMicroelectronics *****END OF FILE****/
